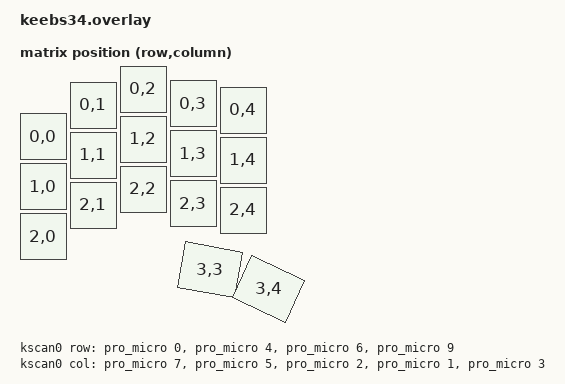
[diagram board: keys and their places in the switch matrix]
#include <dt-bindings/zmk/matrix_transform.h>

/ {
    chosen {
        zmk,physical-layout = &physical_layout0;
    };

    physical_layout0: physical_layout_0 {
        compatible = "zmk,physical-layout";
        display-name = "Default";

        kscan = <&kscan0>;
        transform = <&logical_layout0>;

        keys  //                     w   h    x    y     rot    rx    ry
            = <&key_physical_attrs 100 100    0   95       0     0     0>
            , <&key_physical_attrs 100 100  100   32       0     0     0>
            , <&key_physical_attrs 100 100  200    0       0     0     0>
            , <&key_physical_attrs 100 100  300   29       0     0     0>
            , <&key_physical_attrs 100 100  400   42       0     0     0>
            // , <&key_physical_attrs 100 100  700   42       0     0     0>
            // , <&key_physical_attrs 100 100  800   29       0     0     0>
            // , <&key_physical_attrs 100 100  900    0       0     0     0>
            // , <&key_physical_attrs 100 100 1000   32       0     0     0>
            // , <&key_physical_attrs 100 100 1100   95       0     0     0>
            , <&key_physical_attrs 100 100    0  195       0     0     0>
            , <&key_physical_attrs 100 100  100  132       0     0     0>
            , <&key_physical_attrs 100 100  200  100       0     0     0>
            , <&key_physical_attrs 100 100  300  129       0     0     0>
            , <&key_physical_attrs 100 100  400  142       0     0     0>
            // , <&key_physical_attrs 100 100  700  142       0     0     0>
            // , <&key_physical_attrs 100 100  800  129       0     0     0>
            // , <&key_physical_attrs 100 100  900  100       0     0     0>
            // , <&key_physical_attrs 100 100 1000  132       0     0     0>
            // , <&key_physical_attrs 100 100 1100  195       0     0     0>
            , <&key_physical_attrs 100 100    0  295       0     0     0>
            , <&key_physical_attrs 100 100  100  232       0     0     0>
            , <&key_physical_attrs 100 100  200  200       0     0     0>
            , <&key_physical_attrs 100 100  300  229       0     0     0>
            , <&key_physical_attrs 100 100  400  242       0     0     0>
            // , <&key_physical_attrs 100 100  700  242       0     0     0>
            // , <&key_physical_attrs 100 100  800  229       0     0     0>
            // , <&key_physical_attrs 100 100  900  200       0     0     0>
            // , <&key_physical_attrs 100 100 1000  232       0     0     0>
            // , <&key_physical_attrs 100 100 1100  295       0     0     0>
            , <&key_physical_attrs 125 100  315  370    1000   430   455>
            , <&key_physical_attrs 125 100  430  370    2500   430   455>
            // , <&key_physical_attrs 125 100  670  370 (-2500)   770   455>
            // , <&key_physical_attrs 125 100  785  370 (-1000)   770   455>
            ;
    };

    kscan0: kscan {
        compatible = "zmk,kscan-gpio-matrix";

        row-gpios = <&pro_micro 0 (GPIO_ACTIVE_HIGH)>
                  , <&pro_micro 4 (GPIO_ACTIVE_HIGH)>
                  , <&pro_micro 6 (GPIO_ACTIVE_HIGH)>
                  , <&pro_micro 9 (GPIO_ACTIVE_HIGH)>;

        col-gpios = <&pro_micro 7 (GPIO_ACTIVE_HIGH | GPIO_PULL_DOWN)>
                  , <&pro_micro 5 (GPIO_ACTIVE_HIGH | GPIO_PULL_DOWN)>
                  , <&pro_micro 2 (GPIO_ACTIVE_HIGH | GPIO_PULL_DOWN)>
                  , <&pro_micro 1 (GPIO_ACTIVE_HIGH | GPIO_PULL_DOWN)>
                  , <&pro_micro 3 (GPIO_ACTIVE_HIGH | GPIO_PULL_DOWN)>;
    };

    logical_layout0: matrix_transform {
        compatible = "zmk,matrix-transform";
        columns = <5>;
        rows = <4>;

        map = <
            RC(0,0) RC(0,1) RC(0,2) RC(0,3) RC(0,4)
            RC(1,0) RC(1,1) RC(1,2) RC(1,3) RC(1,4)
            RC(2,0) RC(2,1) RC(2,2) RC(2,3) RC(2,4)
                                    RC(3,3) RC(3,4)
        >;
    };
};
